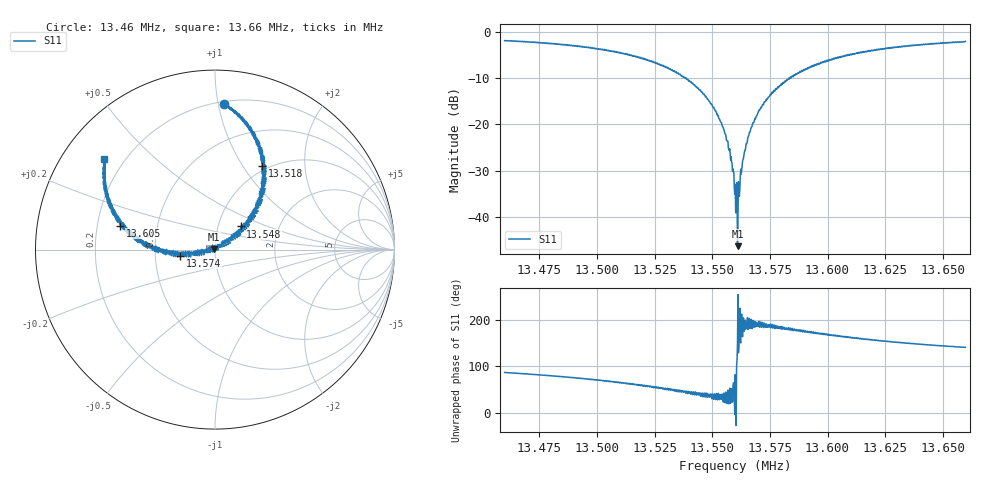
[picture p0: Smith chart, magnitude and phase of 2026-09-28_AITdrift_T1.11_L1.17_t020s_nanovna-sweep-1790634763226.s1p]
! NanoVNA Web complex sweep
! Processing: unaveraged complex samples; linear segment spacing; no smoothing
# Hz S RI R 50
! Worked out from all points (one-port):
!   1010 points, 13.46 MHz to 13.66 MHz, reference 50 ohm
!   lowest |S11| = -46.4 dB at 13.561 MHz (marker M1), VSWR 1.01, Z = 49.6 + j0.229 ohm
!   |S11| at or under -10 dB: 13.53869 MHz to 13.5831 MHz (44.41 kHz wide, 0.327 % of centre); 13.5832 MHz to 13.58357 MHz (369.8 Hz wide, 0.00272 % of centre)
!   S11 on the Smith chart (normalised r, x): 13.46 MHz: 0.22, +1.04; 13.518 MHz: 0.94, +1.22; 13.548 MHz: 1.28, +0.34; 13.574 MHz: 0.67, -0.05; 13.605 MHz: 0.30, +0.11; 13.66 MHz: 0.13, +0.35
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1.346e7  0.0482 0.8089
1.348515e7  0.1599 0.715
1.351009e7  0.2522 0.5401
1.351762e7  0.261 0.4662
1.353504e7  0.2467 0.2608
1.354158e7  0.2192 0.1766
1.354771e7  0.1432 0.1291
1.355167e7  0.1056 0.0879
1.355583e7  0.056 0.0544
1.355841e7  0.026 0.0292
1.3559e7  0.0182 0.0276
1.35594e7  0.0131 0.0274
1.355979e7  0.0174 -0.00119
1.355999e7  0.0031 0.0219
1.356019e7  0.0101 0.00437
1.356098e7  -0.00419 0.00231
1.356197e7  -0.0137 -0.0137
1.356237e7  -0.0284 0.0161
1.356316e7  -0.0379 0.0112
1.356573e7  -0.0741 -0.00806
1.35693e7  -0.1213 -0.0315
1.357425e7  -0.1938 -0.033
1.358494e7  -0.3317 0.0114
1.359385e7  -0.4375 0.0458
1.360513e7  -0.5268 0.1331
1.360989e7  -0.5458 0.178
1.363483e7  -0.6095 0.3612
1.365978e7  -0.617 0.5022
